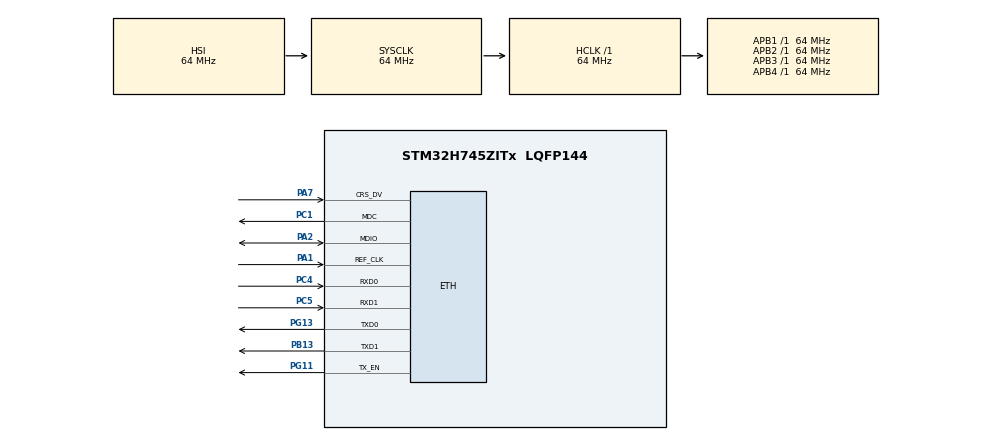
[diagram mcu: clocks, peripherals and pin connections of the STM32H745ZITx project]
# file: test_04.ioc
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CORTEX_M7.CPU_DCache=Disabled
CORTEX_M7.CPU_ICache=Enabled
CortexM4.IPs=CORTEX_M4\:I,DEBUG,FATFS_M4\:I,FREERTOS_M4\:I,IWDG2\:I,OPENAMP_M4\:I,PDM2PCM_M4\:I,PWR,RCC,RESMGR_UTILITY,SYS_M4\:I,USB_DEVICE_M4\:I,USB_HOST_M4\:I,VREFBUF,WWDG2\:I,DMA,BDMA,MDMA,NVIC2\:I
CortexM7.IPs=CORTEX_M7\:I,DEBUG\:I,FATFS_M7\:I,FREERTOS_M7\:I,IWDG1\:I,OPENAMP_M7\:I,PDM2PCM_M7\:I,PWR\:I,RCC\:I,RESMGR_UTILITY\:I,SYS\:I,USB_DEVICE_M7\:I,USB_HOST_M7\:I,VREFBUF\:I,WWDG1\:I,DMA\:I,BDMA\:I,MDMA\:I,NVIC1\:I,ETH\:I,TIM1\:I
ETH.MediaInterface=HAL_ETH_RMII_MODE
FREERTOS_M7.Tasks01=defaultTask,24,128,StartDefaultTask,Default,NULL,Dynamic,NULL,NULL
FREERTOS_M7.configTOTAL_HEAP_SIZE=240000
FREERTOS_M7.configUSE_NEWLIB_REENTRANT=1
Mcu.Family=STM32H7
Mcu.Name=STM32H745ZITx
Mcu.Package=LQFP144
NVIC1.ETH_IRQn=true\:5\:0\:false\:false\:true\:true\:true\:true
NVIC1.PriorityGroup=NVIC_PRIORITYGROUP_4
NVIC1.TIM1_UP_IRQn=true\:15\:0\:false\:false\:true\:false\:false\:true
NVIC1.TimeBase=TIM1_UP_IRQn
NVIC1.TimeBaseIP=TIM1
NVIC2.PriorityGroup=NVIC_PRIORITYGROUP_4
PA1.Mode=RMII
PA1.PinAttribute=CortexM7
PA1.Signal=ETH_REF_CLK
PA2.Mode=RMII
PA2.PinAttribute=CortexM7
PA2.Signal=ETH_MDIO
PA7.Mode=RMII
PA7.PinAttribute=CortexM7
PA7.Signal=ETH_CRS_DV
PB13.Mode=RMII
PB13.PinAttribute=CortexM7
PB13.Signal=ETH_TXD1
PC1.Mode=RMII
PC1.PinAttribute=CortexM7
PC1.Signal=ETH_MDC
PC4.Mode=RMII
PC4.PinAttribute=CortexM7
PC4.Signal=ETH_RXD0
PC5.Mode=RMII
PC5.PinAttribute=CortexM7
PC5.Signal=ETH_RXD1
PG11.Mode=RMII
PG11.PinAttribute=CortexM7
PG11.Signal=ETH_TX_EN
PG13.Mode=RMII
PG13.PinAttribute=CortexM7
PG13.Signal=ETH_TXD0
ProjectManager.HeapSize=M4-0x200,M7-0x200
ProjectManager.StackSize=M4-0x400,M7-0x400
ProjectManager.TargetToolchain=STM32CubeIDE
RCC.ADCFreq_Value=129000000
RCC.APB1Freq_Value=64000000
RCC.APB2Freq_Value=64000000
RCC.APB3Freq_Value=64000000
RCC.APB4Freq_Value=64000000
RCC.CortexFreq_Value=64000000
RCC.HCLKFreq_Value=64000000
RCC.SYSCLKFreq_VALUE=64000000
RCC.USBFreq_Value=129000000
SYS.userName=SYS_M7
VP_FREERTOS_M7_VS_CMSIS_V2.Mode=CMSIS_V2
VP_SYS_M4_VS_Systick.Mode=SysTick
VP_SYS_VS_tim1.Mode=TIM1
board=custom

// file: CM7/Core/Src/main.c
/* USER CODE BEGIN Header */
/**
  ******************************************************************************
  * @file           : main.c
  * @brief          : Main program body
  ******************************************************************************
  * @attention
  *
  * Copyright (c) 2022 STMicroelectronics.
  * All rights reserved.
  *
  * This software is licensed under terms that can be found in the LICENSE file
  * in the root directory of this software component.
  * If no LICENSE file comes with this software, it is provided AS-IS.
  *
  ******************************************************************************
  */
/* USER CODE END Header */
#include "main.h"
#include "string.h"
#include "cmsis_os.h"

/* USER CODE BEGIN Includes */
#include "noah.h"
#include "FreeRTOS_IP.h"
#include "FreeRTOSIPConfig.h"
#include <stdio.h>
void vStartSimpleTCPServerTasks( uint16_t usStackSize, UBaseType_t uxPriority );
#include "iperf_task.h"

/* USER CODE END Includes */

/* USER CODE BEGIN PD */

#ifndef HSEM_ID_0
#define HSEM_ID_0 (0U) /* HW semaphore 0*/
#endif
/* USER CODE END PD */

#if defined ( __ICCARM__ ) /*!< IAR Compiler */

#pragma location=0x30040000
ETH_DMADescTypeDef  DMARxDscrTab[ETH_RX_DESC_CNT]; /* Ethernet Rx DMA Descriptors */
#pragma location=0x30040060
ETH_DMADescTypeDef  DMATxDscrTab[ETH_TX_DESC_CNT]; /* Ethernet Tx DMA Descriptors */
#pragma location=0x300400c0
uint8_t Rx_Buff[ETH_RX_DESC_CNT][ETH_MAX_PACKET_SIZE]; /* Ethernet Receive Buffers */

#elif defined ( __CC_ARM )  /* MDK ARM Compiler */

__attribute__((at(0x30040000))) ETH_DMADescTypeDef  DMARxDscrTab[ETH_RX_DESC_CNT]; /* Ethernet Rx DMA Descriptors */
__attribute__((at(0x30040060))) ETH_DMADescTypeDef  DMATxDscrTab[ETH_TX_DESC_CNT]; /* Ethernet Tx DMA Descriptors */
__attribute__((at(0x300400c0))) uint8_t Rx_Buff[ETH_RX_DESC_CNT][ETH_MAX_PACKET_SIZE]; /* Ethernet Receive Buffer */

#elif defined ( __GNUC__ ) /* GNU Compiler */

ETH_DMADescTypeDef DMARxDscrTab[ETH_RX_DESC_CNT] __attribute__((section(".RxDecripSection"))); /* Ethernet Rx DMA Descriptors */
ETH_DMADescTypeDef DMATxDscrTab[ETH_TX_DESC_CNT] __attribute__((section(".TxDecripSection")));   /* Ethernet Tx DMA Descriptors */
uint8_t Rx_Buff[ETH_RX_DESC_CNT][ETH_MAX_PACKET_SIZE] __attribute__((section(".RxArraySection"))); /* Ethernet Receive Buffers */

#endif

ETH_TxPacketConfig TxConfig;

ETH_HandleTypeDef heth;

/* Definitions for defaultTask */
osThreadId_t defaultTaskHandle;
const osThreadAttr_t defaultTask_attributes = {
  .name = "defaultTask",
  .stack_size = 128 * 4,
  .priority = (osPriority_t) osPriorityNormal,
};

void SystemClock_Config(void);
static void MX_GPIO_Init(void);
static void MX_ETH_Init(void);
void StartDefaultTask(void *argument);

/* USER CODE BEGIN PFP */
#define mainDEVICE_NICK_NAME "noahmicro"
const char *mainHOST_NAME = "noah2micro";

/*
 * Callback that provides the inputs necessary to generate a randomized TCP
 * Initial Sequence Number per RFC 6528.  THIS IS ONLY A DUMMY IMPLEMENTATION
 * THAT RETURNS A PSEUDO RANDOM NUMBER SO IS NOT INTENDED FOR USE IN PRODUCTION
 * SYSTEMS.
 */
extern uint32_t ulApplicationGetNextSequenceNumber( uint32_t ulSourceAddress,
                                                    uint16_t usSourcePort,
                                                    uint32_t ulDestinationAddress,
                                                    uint16_t usDestinationPort )
{
    ( void ) ulSourceAddress;
    ( void ) usSourcePort;
    ( void ) ulDestinationAddress;
    ( void ) usDestinationPort;

    return uxRand();
}

UBaseType_t uxRand( void )
{
    const uint32_t ulMultiplier = 0x015a4e35UL, ulIncrement = 1UL;
    static UBaseType_t ulNextRand;

    /* Utility function to generate a pseudo random number. */

    ulNextRand = ( ulMultiplier * ulNextRand ) + ulIncrement;
    return( ( int ) ( ulNextRand ) & 0x7fffUL );
}

BaseType_t xApplicationGetRandomNumber( uint32_t * pulNumber )
{
    *pulNumber = uxRand();

    return pdTRUE;
}

void vApplicationPingReplyHook( ePingReplyStatus_t eStatus,
                                uint16_t usIdentifier )
{
    /* Provide a stub for this function. */
}

void vApplicationIPNetworkEventHook( eIPCallbackEvent_t eNetworkEvent )
{
    static BaseType_t xTasksAlreadyCreated = pdFALSE;

    /* If the network has just come up...*/
    if( ( eNetworkEvent == eNetworkUp ) && ( xTasksAlreadyCreated == pdFALSE ) )
    {
        /* Do nothing. Just a stub. */

    	if (xTasksAlreadyCreated == pdFALSE) {
    				vIPerfInstall();
    				//vUDPLoggingTaskCreate();
    				//xTasksAlreadyCreated = pdTRUE;
    			}

        xTasksAlreadyCreated = pdTRUE;
    }
}

const char * pcApplicationHostnameHook( void )
{
    /* This function will be called during the DHCP: the machine will be registered
     * with an IP address plus this name. */
    return mainHOST_NAME;
}

BaseType_t xApplicationDNSQueryHook( const char * pcName )
{
    BaseType_t xReturn;

    /* Determine if a name lookup is for this node.  Two names are given
     * to this node: that returned by pcApplicationHostnameHook() and that set
     * by mainDEVICE_NICK_NAME. */
    if( stricmp( pcName, pcApplicationHostnameHook() ) == 0 )
    {
        xReturn = pdPASS;
    }
    else if( stricmp( pcName, mainDEVICE_NICK_NAME ) == 0 )
    {
        xReturn = pdPASS;
    }
    else
    {
        xReturn = pdFAIL;
    }

    return xReturn;
}

/* USER CODE END PFP */

/* USER CODE BEGIN 0 */

static uint8_t ucMACAddress[ 6 ] = { 0x00, 0x80, 0xe1, 0x00, 0x00, 0x00 };
static const uint8_t ucIPAddress[ 4 ]        = { 192, 168,   1,  10 };
static const uint8_t ucNetMask[ 4 ]          = { 255, 255, 255,   0 };
static const uint8_t ucGatewayAddress[ 4 ]   = { 192, 168,   1,   1 };
static const uint8_t ucDNSServerAddress[ 4 ] = { 208,  67, 222, 222 };

/* USER CODE END 0 */

int main(void)
{
/* USER CODE BEGIN Boot_Mode_Sequence_0 */
  int32_t timeout;
/* USER CODE END Boot_Mode_Sequence_0 */

  /* Enable I-Cache---------------------------------------------------------*/
  SCB_EnableICache();

/* USER CODE BEGIN Boot_Mode_Sequence_1 */
  /* Wait until CPU2 boots and enters in stop mode or timeout*/
  timeout = 0xFFFF;
  while((__HAL_RCC_GET_FLAG(RCC_FLAG_D2CKRDY) != RESET) && (timeout-- > 0));
  if ( timeout < 0 )
  {
  Error_Handler();
  }
/* USER CODE END Boot_Mode_Sequence_1 */
  /* MCU Configuration--------------------------------------------------------*/

  /* Reset of all peripherals, Initializes the Flash interface and the Systick. */
  HAL_Init();

  /* Configure the system clock */
  SystemClock_Config();
/* USER CODE BEGIN Boot_Mode_Sequence_2 */
/* When system initialization is finished, Cortex-M7 will release Cortex-M4 by means of
HSEM notification */
/*HW semaphore Clock enable*/
__HAL_RCC_HSEM_CLK_ENABLE();
/*Take HSEM */
HAL_HSEM_FastTake(HSEM_ID_0);
/*Release HSEM in order to notify the CPU2(CM4)*/
HAL_HSEM_Release(HSEM_ID_0,0);
/* wait until CPU2 wakes up from stop mode */
timeout = 0xFFFF;
while((__HAL_RCC_GET_FLAG(RCC_FLAG_D2CKRDY) == RESET) && (timeout-- > 0));
if ( timeout < 0 )
{
Error_Handler();
}
/* USER CODE END Boot_Mode_Sequence_2 */

  /* Initialize all configured peripherals */
  MX_GPIO_Init();
  MX_ETH_Init();

  /* Init scheduler */
  osKernelInitialize();

  /* Create the thread(s) */
  /* creation of defaultTask */
  defaultTaskHandle = osThreadNew(StartDefaultTask, NULL, &defaultTask_attributes);

  /* USER CODE BEGIN RTOS_EVENTS */
  FreeRTOS_IPInit( ucIPAddress, ucNetMask, ucGatewayAddress, ucDNSServerAddress, ucMACAddress );
  vStartSimpleTCPServerTasks( 2000, 3 );    // TCP echo server
  vStartSimpleUDPServerTasks( 2000, 3 );    // responds to incoming UDP w outgoing USP
  //vStartSimpleUDPSenderTasks( 2000, 3 );  // periodically sends a message

  /* USER CODE END RTOS_EVENTS */

  /* Start scheduler */
  osKernelStart();

  /* We should never get here as control is now taken by the scheduler */
  /* Infinite loop */
  while (1)
  {

  }
}

void SystemClock_Config(void)
{
  RCC_OscInitTypeDef RCC_OscInitStruct = {0};
  RCC_ClkInitTypeDef RCC_ClkInitStruct = {0};

  /** Supply configuration update enable
  */
  HAL_PWREx_ConfigSupply(PWR_DIRECT_SMPS_SUPPLY);
  /** Configure the main internal regulator output voltage
  */
  __HAL_PWR_VOLTAGESCALING_CONFIG(PWR_REGULATOR_VOLTAGE_SCALE3);

  while(!__HAL_PWR_GET_FLAG(PWR_FLAG_VOSRDY)) {}
  /** Initializes the RCC Oscillators according to the specified parameters
  * in the RCC_OscInitTypeDef structure.
  */
  RCC_OscInitStruct.OscillatorType = RCC_OSCILLATORTYPE_HSI;
  RCC_OscInitStruct.HSIState = RCC_HSI_DIV1;
  RCC_OscInitStruct.HSICalibrationValue = RCC_HSICALIBRATION_DEFAULT;
  RCC_OscInitStruct.PLL.PLLState = RCC_PLL_NONE;
  if (HAL_RCC_OscConfig(&RCC_OscInitStruct) != HAL_OK)
  {
    Error_Handler();
  }
  /** Initializes the CPU, AHB and APB buses clocks
  */
  RCC_ClkInitStruct.ClockType = RCC_CLOCKTYPE_HCLK|RCC_CLOCKTYPE_SYSCLK
                              |RCC_CLOCKTYPE_PCLK1|RCC_CLOCKTYPE_PCLK2
                              |RCC_CLOCKTYPE_D3PCLK1|RCC_CLOCKTYPE_D1PCLK1;
  RCC_ClkInitStruct.SYSCLKSource = RCC_SYSCLKSOURCE_HSI;
  RCC_ClkInitStruct.SYSCLKDivider = RCC_SYSCLK_DIV1;
  RCC_ClkInitStruct.AHBCLKDivider = RCC_HCLK_DIV1;
  RCC_ClkInitStruct.APB3CLKDivider = RCC_APB3_DIV1;
  RCC_ClkInitStruct.APB1CLKDivider = RCC_APB1_DIV1;
  RCC_ClkInitStruct.APB2CLKDivider = RCC_APB2_DIV1;
  RCC_ClkInitStruct.APB4CLKDivider = RCC_APB4_DIV1;

  if (HAL_RCC_ClockConfig(&RCC_ClkInitStruct, FLASH_LATENCY_1) != HAL_OK)
  {
    Error_Handler();
  }
}

static void MX_ETH_Init(void)
{

   static uint8_t MACAddr[6];

  heth.Instance = ETH;
  MACAddr[0] = 0x00;
  MACAddr[1] = 0x80;
  MACAddr[2] = 0xE1;
  MACAddr[3] = 0x00;
  MACAddr[4] = 0x00;
  MACAddr[5] = 0x00;
  heth.Init.MACAddr = &MACAddr[0];
  heth.Init.MediaInterface = HAL_ETH_RMII_MODE;
  heth.Init.TxDesc = DMATxDscrTab;
  heth.Init.RxDesc = DMARxDscrTab;
  heth.Init.RxBuffLen = 1524;

  if (HAL_ETH_Init(&heth) != HAL_OK)
  {
    Error_Handler();
  }

  memset(&TxConfig, 0 , sizeof(ETH_TxPacketConfig));
  TxConfig.Attributes = ETH_TX_PACKETS_FEATURES_CSUM | ETH_TX_PACKETS_FEATURES_CRCPAD;
  TxConfig.ChecksumCtrl = ETH_CHECKSUM_IPHDR_PAYLOAD_INSERT_PHDR_CALC;
  TxConfig.CRCPadCtrl = ETH_CRC_PAD_INSERT;

}

static void MX_GPIO_Init(void)
{

  /* GPIO Ports Clock Enable */
  __HAL_RCC_GPIOC_CLK_ENABLE();
  __HAL_RCC_GPIOA_CLK_ENABLE();
  __HAL_RCC_GPIOB_CLK_ENABLE();
  __HAL_RCC_GPIOG_CLK_ENABLE();

}

void StartDefaultTask(void *argument)
{
  for(;;)
  {
    osDelay(1);
  }
}

void HAL_TIM_PeriodElapsedCallback(TIM_HandleTypeDef *htim)
{
  if (htim->Instance == TIM1) {
    HAL_IncTick();
  }
}

void Error_Handler(void)
{
  __disable_irq();
  while (1)
  {
  }
}
